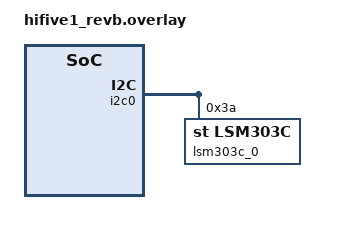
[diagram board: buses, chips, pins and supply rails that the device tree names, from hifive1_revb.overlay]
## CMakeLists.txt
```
cmake_minimum_required(VERSION 3.13.1)
include($ENV{ZEPHYR_BASE}/cmake/app/boilerplate.cmake NO_POLICY_SCOPE)
project(my_zephyr_app)

target_sources(app PRIVATE src/main.c)
```

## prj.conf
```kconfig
CONFIG_NEWLIB_LIBC=y
CONFIG_LSM303C=y
```

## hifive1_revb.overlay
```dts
&i2c0 {
	#address-cells = <1>;
	#size-cells = <0>;
	lsm303c: accelerometer@3a {
		compatible = "st,lsm303c";
		reg = <0x3A>;
		label = "lsm303c_0";
	};
};
```

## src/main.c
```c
/*
 * Copyright (c) 2019 SiFive Inc.
 *
 * SPDX-License-Identifier: Apache-2.0
 */

#include <stdio.h>
#include <math.h>

#include <zephyr.h>
#include <misc/printk.h>
#include <device.h>
#include <sensor.h>
#include <spi.h>

#define STACK_SIZE 1024
#define ACCEL_PRIORITY CONFIG_MAIN_THREAD_PRIORITY + 1
#define RENDER_PRIORITY CONFIG_MAIN_THREAD_PRIORITY - 1

#define ACCEL_QUEUE_COUNT 1
#define RENDER_QUEUE_COUNT 1

#define DELTA_T 1 /* ms */
#define ZETA	0.35 /* Damping coefficient */

#define PI 3.1415926535
#define RADIUS	25  /* mm */
#define CIRCUMFERENCE (2 * PI * RADIUS)

#define LED_COUNT 40

#define SPI_FREQUENCY 2000000

typedef struct {
    float x; /* um/ms^2 */
    float y; /* um/ms^2 */
} vector_t;

/* Acceleration measurements are confined to the XY plane */
K_MSGQ_DEFINE(accel_queue, sizeof(vector_t), ACCEL_QUEUE_COUNT, sizeof(vector_t));

/* The position of the light is the position in millimeters about the
 * circumference of the circle. */
K_MSGQ_DEFINE(render_queue, sizeof(float), RENDER_QUEUE_COUNT, sizeof(float));

K_THREAD_STACK_DEFINE(accel_stack, STACK_SIZE);
K_THREAD_STACK_DEFINE(render_stack, STACK_SIZE);
struct k_thread vector_thread;
struct k_thread render_thread;

/* Returns the angle of position P in 32768 / 2PI rad */
inline float position_to_theta(float p) {
        return (2 * PI * p / CIRCUMFERENCE);
}

/* Returns the 0-indexed LED corresponding to position P */
int32_t position_to_led(float p) {
	int32_t led = (int32_t) (p * LED_COUNT / CIRCUMFERENCE);

	while(led < 0) {
	    led += LED_COUNT;
	}
	while(led >= LED_COUNT) {
	    led -= LED_COUNT;
	}

	return led;
}

/* Returns a unit vector in the direction of forward rotation in our
 * coordinate system */
vector_t position_to_forward(float p) {
	vector_t accel;

	/* Get the angle 90 in advance of the position. This will
	 * correspond to the vector tangent to our position pointing
	 * in the forward direction of rotation */
	float theta = position_to_theta(p + CIRCUMFERENCE/4);

	/* Convert the angle of the forward vector to cartesian
	 * coordinates */
	accel.x = cos(theta);
	accel.y = sin(theta);

	return accel;
}

inline float dot_vector(vector_t a, vector_t b) {
    return (a.x * b.x + a.y * b.y);
}

/* Compute the component of accel in the direction of the forward unit vector */
vector_t forward_component(vector_t accel, vector_t forward)
{
    /* Compute the magnitude of accel in the direction of the forward
     * unit vector */
    float dot = dot_vector(accel, forward);

    /* Scale the forward unit vector by the maginitude */
    forward.x = forward.x * dot;
    forward.y = forward.y * dot;

    return forward;
}

/* Returns the linear magnitude of an acceleration vector */
float magnitude(vector_t accel, vector_t forward)
{
	int sign = dot_vector(accel, forward) < 0 ? -1 : 1;
	return sign * sqrt(accel.x * accel.x + accel.y * accel.y);
}

/*
 * This worker reads accelerometer values and hands them to the main thread.
 */
void accel_worker(void *p1, void *p2, void *p3)
{
	struct sensor_value accel[3];
	vector_t a;
	struct device *lsm303c = device_get_binding(DT_ST_LSM303C_0_LABEL);
	int rc = 0;

	if(lsm303c == NULL) {
		printk("Failed to get LSM303C binding!\n");

		a.x = 0;
		a.y = -9.81; /* 1 gravity */
		while(1) {
			k_msgq_put(&accel_queue, &a, K_FOREVER);
		}
	}

	while(1) {
		/* Fetch the latest data */
		sensor_sample_fetch(lsm303c);

		/* Get the sample */
		sensor_channel_get(lsm303c, SENSOR_CHAN_ACCEL_XYZ, accel);

		a.x = accel[0].val1 + accel[0].val2 / 1000000;
		a.y = accel[1].val1 + accel[1].val2 / 1000000;

		a.x *= -1;

		/* Add the sample to the queue. If it's full, just drop it. */
		rc = k_msgq_put(&accel_queue, &a, K_NO_WAIT);
	}
}

/*
 * This worker renders the state of the LED ring
 */
uint32_t ctrl_buf[LED_COUNT + 2];

void render_worker(void *p1, void *p2, void *p3)
{
    float p = 0;
    int32_t led = 0;
    struct device *spi = device_get_binding(DT_SIFIVE_SPI0_1_LABEL);

    if(!spi) {
        printk("Failed to get SPI device\n");
        while(1) ;
    }

    const struct spi_config cfg = {
	.frequency = SPI_FREQUENCY,
	.operation = SPI_OP_MODE_MASTER | SPI_WORD_SET(8),
    };
    const struct spi_buf tx_buf = {
	.buf = &ctrl_buf,
	.len = (LED_COUNT + 2) * 4,
    };
    const struct spi_buf_set tx_bufs = {
	.count = 1,
	.buffers = &tx_buf,
    };

    while(1) {
	/* Get the position */
	k_msgq_get(&render_queue, &p, K_FOREVER);

	led = position_to_led(p);

	/* Zero the first word */
	ctrl_buf[0] = 0;

	/* Set all LEDs */
	for(int i = 1; i < (LED_COUNT + 2); i++) {
	    if(i == (led + 1)) {
		ctrl_buf[i] = 0xFFFFFFE1; /* Off */
	    } else {
		ctrl_buf[i] = 0x000000E0; /* On */
	    }
	}

	/* Set the last word to all ones */
	ctrl_buf[LED_COUNT + 1] = 0xFFFFFFFF;

	/* Write to LEDs */
	spi_write(spi, &cfg, &tx_bufs);
    }
}

/*
 * The main thread initializes the demo and then runs the physics.
 */
int main(void)
{
    int rc = 0;

    /* Startup workers */
    k_thread_create(&vector_thread,
		    accel_stack,
		    STACK_SIZE,
		    accel_worker,
		    NULL, NULL, NULL,
		    ACCEL_PRIORITY,
		    0,
		    K_NO_WAIT);
    k_thread_create(&render_thread,
		    render_stack,
		    STACK_SIZE,
		    render_worker,
		    NULL, NULL, NULL,
		    RENDER_PRIORITY,
		    0,
		    K_NO_WAIT);

    /* The position is encoded in linear millimeters about the
     * circumference of the circle.
     *
     * The position p = 0 is in line with the x axis of the accelerometer.
     *
     * The position p = CIRCUMFERENCE / 4 is in line with the y axis
     *  of the accelerometer.
     */
    float p = 0;

    /* The linear velocity is encoded in mm/ms */
    float v = 0;
    float v_next;

    /* The linear acceleration is encoded in mm/ms^2 */
    float a = 0;

    vector_t accel;
    vector_t forward;

    while(1) {
	    /* Wait for one time delta */
	    k_sleep(DELTA_T);

	    /* Get the last sensor measurement */
	    k_msgq_get(&accel_queue, &accel, K_FOREVER);

	    /* Find the forward direction */
	    forward = position_to_forward(p);

	    /* Find the component of the acceleration we're
	     * experiencing in the forward direction */
	    accel = forward_component(accel, forward);

	    /* Convert to linear acceleration */
	    a = magnitude(accel, forward);

	    /* Update the velocity */
	    v_next = (1 - ZETA) * v + DELTA_T * a;

	    /* Update the position */
	    p = p + DELTA_T * v;

	    /* Advance the state one index */
	    v = v_next;

	    /* Render the position */
	    rc = k_msgq_put(&render_queue, &p, K_FOREVER);
    }
}
```
